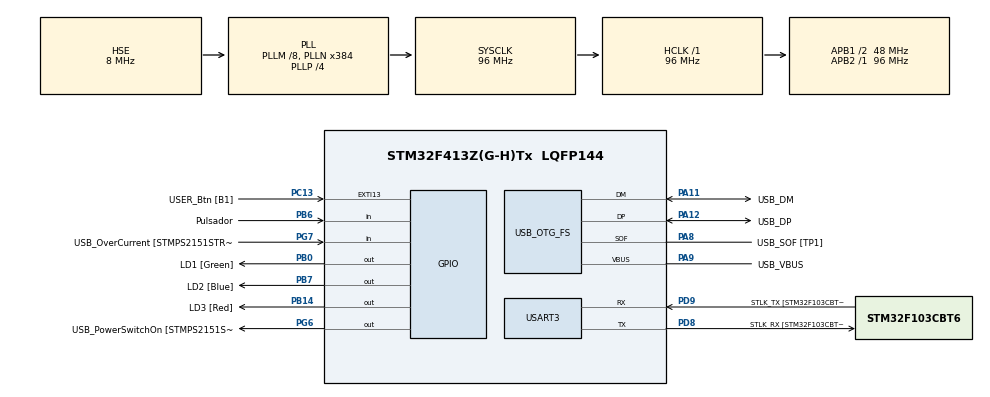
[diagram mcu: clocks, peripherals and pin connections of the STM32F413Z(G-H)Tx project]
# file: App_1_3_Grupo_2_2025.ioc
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Mcu.Family=STM32F4
Mcu.Name=STM32F413Z(G-H)Tx
Mcu.Package=LQFP144
NVIC.PriorityGroup=NVIC_PRIORITYGROUP_4
PA10.GPIO_Label=USB_ID
PA10.Signal=USB_OTG_FS_ID
PA11.GPIO_Label=USB_DM
PA11.Mode=Device_Only
PA11.Signal=USB_OTG_FS_DM
PA12.GPIO_Label=USB_DP
PA12.Mode=Device_Only
PA12.Signal=USB_OTG_FS_DP
PA13.GPIO_Label=TMS
PA13.Mode=Serial_Wire
PA13.Signal=SYS_JTMS-SWDIO
PA14.GPIO_Label=TCK
PA14.Mode=Serial_Wire
PA14.Signal=SYS_JTCK-SWCLK
PA8.GPIO_Label=USB_SOF [TP1]
PA8.Mode=Activate_SOF_FS
PA8.Signal=USB_OTG_FS_SOF
PA9.GPIO_Label=USB_VBUS
PA9.Mode=Activate_VBUS
PA9.Signal=USB_OTG_FS_VBUS
PB0.GPIO_Label=LD1 [Green]
PB0.Signal=GPIO_Output
PB14.GPIO_Label=LD3 [Red]
PB14.Signal=GPIO_Output
PB3.GPIO_Label=SWO
PB3.Signal=SYS_JTDO-SWO
PB6.GPIO_Label=Pulsador
PB6.Signal=GPIO_Input
PB7.GPIO_Label=LD2 [Blue]
PB7.Signal=GPIO_Output
PC13.GPIO_Label=USER_Btn [B1]
PC13.Signal=GPXTI13
PC14-OSC32_IN.Mode=LSE-External-Oscillator
PC14-OSC32_IN.Signal=RCC_OSC32_IN
PC15-OSC32_OUT.Mode=LSE-External-Oscillator
PC15-OSC32_OUT.Signal=RCC_OSC32_OUT
PD8.GPIO_Label=STLK_RX [STM32F103CBT6_PA3]
PD8.Mode=Asynchronous
PD8.Signal=USART3_TX
PD9.GPIO_Label=STLK_TX [STM32F103CBT6_PA2]
PD9.Mode=Asynchronous
PD9.Signal=USART3_RX
PG6.GPIO_Label=USB_PowerSwitchOn [STMPS2151STR_EN]
PG6.Signal=GPIO_Output
PG7.GPIO_Label=USB_OverCurrent [STMPS2151STR_FAULT]
PG7.Signal=GPIO_Input
PH0\ -\ OSC_IN.GPIO_Label=MCO
PH0\ -\ OSC_IN.Mode=HSE-External-Clock-Source
PH0\ -\ OSC_IN.Signal=RCC_OSC_IN
PH1\ -\ OSC_OUT.Mode=HSE-External-Clock-Source
PH1\ -\ OSC_OUT.Signal=RCC_OSC_OUT
ProjectManager.HeapSize=0x200
ProjectManager.StackSize=0x400
ProjectManager.TargetToolchain=STM32CubeIDE
RCC.48MHZClocksFreq_Value=24000000
RCC.AHBFreq_Value=96000000
RCC.APB1CLKDivider=RCC_HCLK_DIV2
RCC.APB1Freq_Value=48000000
RCC.APB1TimFreq_Value=96000000
RCC.APB2Freq_Value=96000000
RCC.APB2TimFreq_Value=96000000
RCC.CortexFreq_Value=96000000
RCC.HCLKFreq_Value=96000000
RCC.HSE_VALUE=8000000
RCC.HSI_VALUE=16000000
RCC.PLLM=8
RCC.PLLMUL=RCC_PLL_MUL9
RCC.PLLN=384
RCC.PLLP=RCC_PLLP_DIV4
RCC.PLLQ=8
RCC.PRESCALERUSB=RCC_USBCLKSOURCE_PLL_DIV1_5
RCC.SYSCLKFreq_VALUE=96000000
RCC.SYSCLKSource=RCC_SYSCLKSOURCE_PLLCLK
RCC.SYSCLKSourceVirtual=RCC_SYSCLKSOURCE_PLLCLK
RCC.USBFreq_Value=48000000
RCC.VCOOutputFreq_Value=384000000
USART3.VirtualMode=VM_ASYNC
USB_OTG_FS.VirtualMode=Device_Only
board=NUCLEO-F413ZH

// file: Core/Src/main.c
/* USER CODE BEGIN Header */
/**
  ******************************************************************************
  * @file           : main.c
  * @brief          : Main program body
  ******************************************************************************
  * @attention
  *
  * Copyright (c) 2025 STMicroelectronics.
  * All rights reserved.
  *
  * This software is licensed under terms that can be found in the LICENSE file
  * in the root directory of this software component.
  * If no LICENSE file comes with this software, it is provided AS-IS.
  *
  ******************************************************************************
  */
/* USER CODE END Header */
#include "main.h"

/* USER CODE BEGIN Includes */
uint8_t secuencia = 1;
/* USER CODE END Includes */

UART_HandleTypeDef huart3;

PCD_HandleTypeDef hpcd_USB_OTG_FS;

void SystemClock_Config(void);
static void MX_GPIO_Init(void);
static void MX_USART3_UART_Init(void);
static void MX_USB_OTG_FS_PCD_Init(void);

int main(void)
{

  /* MCU Configuration--------------------------------------------------------*/

  /* Reset of all peripherals, Initializes the Flash interface and the Systick. */
  HAL_Init();

  /* Configure the system clock */
  SystemClock_Config();

  /* Initialize all configured peripherals */
  MX_GPIO_Init();
  MX_USART3_UART_Init();
  MX_USB_OTG_FS_PCD_Init();

  /* Infinite loop */
  while (1)
  {

    /* USER CODE BEGIN 3 */

	  switch(secuencia){
	 	  	       case 1:HAL_GPIO_TogglePin(GPIOB, LD1_Pin|LD2_Pin|LD3_Pin);
	 	  	              HAL_Delay(150);
	 	  	              break;
	 	  	       case 2:HAL_GPIO_TogglePin(GPIOB, LD1_Pin|LD2_Pin|LD3_Pin);
	 	  	              HAL_Delay(300);
	 	  	              break;
	 	  	       case 3:HAL_GPIO_WritePin(GPIOB, LD1_Pin|LD2_Pin|LD3_Pin , GPIO_PIN_RESET);
	 	  	              HAL_Delay(50);
	 	  	    	      HAL_GPIO_WritePin(GPIOB, LD1_Pin, GPIO_PIN_SET);
	 	  	              HAL_Delay(100);
	 	  	              HAL_GPIO_WritePin(GPIOB, LD2_Pin,GPIO_PIN_SET);
	 	  	              HAL_Delay(300);
	 	  	              HAL_GPIO_WritePin(GPIOB, LD3_Pin, GPIO_PIN_SET);
	 	  	              HAL_Delay(600);
	 	  	              break;
	 	  	       case 4:HAL_GPIO_WritePin(GPIOB, LD1_Pin|LD3_Pin , GPIO_PIN_RESET);
	 					  HAL_Delay(150);
	 					  HAL_GPIO_TogglePin(GPIOB, LD1_Pin| LD3_Pin);
	 				   	  HAL_GPIO_TogglePin(GPIOB, LD2_Pin);
	 					  HAL_Delay(150);
	 	  	              break;
	                }

	 	  	if(HAL_GPIO_ReadPin(GPIOB, Pulsador_Pin) == GPIO_PIN_SET){

	 	  		  		  secuencia = secuencia  + 1;
	 	  		  		  HAL_Delay(200); //Eliminamos el rebote del pulsador
	 	  		  		  if(secuencia==5){
	 	  		  			  secuencia = 1; // reinicio la secuencia a 1
	 	  		  			  HAL_GPIO_WritePin(GPIOB, LD1_Pin|LD2_Pin|LD3_Pin , GPIO_PIN_RESET); // Inicializamos los pines en O
	 	  		  		  }
	 	  		  }

  }
  /* USER CODE END 3 */
}

void SystemClock_Config(void)
{
  RCC_OscInitTypeDef RCC_OscInitStruct = {0};
  RCC_ClkInitTypeDef RCC_ClkInitStruct = {0};

  /** Configure the main internal regulator output voltage
  */
  __HAL_RCC_PWR_CLK_ENABLE();
  __HAL_PWR_VOLTAGESCALING_CONFIG(PWR_REGULATOR_VOLTAGE_SCALE1);

  /** Initializes the RCC Oscillators according to the specified parameters
  * in the RCC_OscInitTypeDef structure.
  */
  RCC_OscInitStruct.OscillatorType = RCC_OSCILLATORTYPE_HSE;
  RCC_OscInitStruct.HSEState = RCC_HSE_BYPASS;
  RCC_OscInitStruct.PLL.PLLState = RCC_PLL_ON;
  RCC_OscInitStruct.PLL.PLLSource = RCC_PLLSOURCE_HSE;
  RCC_OscInitStruct.PLL.PLLM = 8;
  RCC_OscInitStruct.PLL.PLLN = 384;
  RCC_OscInitStruct.PLL.PLLP = RCC_PLLP_DIV4;
  RCC_OscInitStruct.PLL.PLLQ = 8;
  RCC_OscInitStruct.PLL.PLLR = 2;
  if (HAL_RCC_OscConfig(&RCC_OscInitStruct) != HAL_OK)
  {
    Error_Handler();
  }

  /** Initializes the CPU, AHB and APB buses clocks
  */
  RCC_ClkInitStruct.ClockType = RCC_CLOCKTYPE_HCLK|RCC_CLOCKTYPE_SYSCLK
                              |RCC_CLOCKTYPE_PCLK1|RCC_CLOCKTYPE_PCLK2;
  RCC_ClkInitStruct.SYSCLKSource = RCC_SYSCLKSOURCE_PLLCLK;
  RCC_ClkInitStruct.AHBCLKDivider = RCC_SYSCLK_DIV1;
  RCC_ClkInitStruct.APB1CLKDivider = RCC_HCLK_DIV2;
  RCC_ClkInitStruct.APB2CLKDivider = RCC_HCLK_DIV1;

  if (HAL_RCC_ClockConfig(&RCC_ClkInitStruct, FLASH_LATENCY_3) != HAL_OK)
  {
    Error_Handler();
  }
}

static void MX_USART3_UART_Init(void)
{

  huart3.Instance = USART3;
  huart3.Init.BaudRate = 115200;
  huart3.Init.WordLength = UART_WORDLENGTH_8B;
  huart3.Init.StopBits = UART_STOPBITS_1;
  huart3.Init.Parity = UART_PARITY_NONE;
  huart3.Init.Mode = UART_MODE_TX_RX;
  huart3.Init.HwFlowCtl = UART_HWCONTROL_NONE;
  huart3.Init.OverSampling = UART_OVERSAMPLING_16;
  if (HAL_UART_Init(&huart3) != HAL_OK)
  {
    Error_Handler();
  }

}

static void MX_USB_OTG_FS_PCD_Init(void)
{

  hpcd_USB_OTG_FS.Instance = USB_OTG_FS;
  hpcd_USB_OTG_FS.Init.dev_endpoints = 6;
  hpcd_USB_OTG_FS.Init.speed = PCD_SPEED_FULL;
  hpcd_USB_OTG_FS.Init.dma_enable = DISABLE;
  hpcd_USB_OTG_FS.Init.phy_itface = PCD_PHY_EMBEDDED;
  hpcd_USB_OTG_FS.Init.Sof_enable = ENABLE;
  hpcd_USB_OTG_FS.Init.low_power_enable = DISABLE;
  hpcd_USB_OTG_FS.Init.lpm_enable = DISABLE;
  hpcd_USB_OTG_FS.Init.battery_charging_enable = ENABLE;
  hpcd_USB_OTG_FS.Init.vbus_sensing_enable = ENABLE;
  hpcd_USB_OTG_FS.Init.use_dedicated_ep1 = DISABLE;
  if (HAL_PCD_Init(&hpcd_USB_OTG_FS) != HAL_OK)
  {
    Error_Handler();
  }

}

static void MX_GPIO_Init(void)
{
  GPIO_InitTypeDef GPIO_InitStruct = {0};

  /* GPIO Ports Clock Enable */
  __HAL_RCC_GPIOC_CLK_ENABLE();
  __HAL_RCC_GPIOH_CLK_ENABLE();
  __HAL_RCC_GPIOB_CLK_ENABLE();
  __HAL_RCC_GPIOD_CLK_ENABLE();
  __HAL_RCC_GPIOG_CLK_ENABLE();
  __HAL_RCC_GPIOA_CLK_ENABLE();

  /*Configure GPIO pin Output Level */
  HAL_GPIO_WritePin(GPIOB, LD1_Pin|LD3_Pin|LD2_Pin, GPIO_PIN_RESET);

  /*Configure GPIO pin Output Level */
  HAL_GPIO_WritePin(USB_PowerSwitchOn_GPIO_Port, USB_PowerSwitchOn_Pin, GPIO_PIN_RESET);

  /*Configure GPIO pin : USER_Btn_Pin */
  GPIO_InitStruct.Pin = USER_Btn_Pin;
  GPIO_InitStruct.Mode = GPIO_MODE_IT_RISING;
  GPIO_InitStruct.Pull = GPIO_NOPULL;
  HAL_GPIO_Init(USER_Btn_GPIO_Port, &GPIO_InitStruct);

  /*Configure GPIO pins : LD1_Pin LD3_Pin LD2_Pin */
  GPIO_InitStruct.Pin = LD1_Pin|LD3_Pin|LD2_Pin;
  GPIO_InitStruct.Mode = GPIO_MODE_OUTPUT_PP;
  GPIO_InitStruct.Pull = GPIO_NOPULL;
  GPIO_InitStruct.Speed = GPIO_SPEED_FREQ_LOW;
  HAL_GPIO_Init(GPIOB, &GPIO_InitStruct);

  /*Configure GPIO pin : USB_PowerSwitchOn_Pin */
  GPIO_InitStruct.Pin = USB_PowerSwitchOn_Pin;
  GPIO_InitStruct.Mode = GPIO_MODE_OUTPUT_PP;
  GPIO_InitStruct.Pull = GPIO_NOPULL;
  GPIO_InitStruct.Speed = GPIO_SPEED_FREQ_LOW;
  HAL_GPIO_Init(USB_PowerSwitchOn_GPIO_Port, &GPIO_InitStruct);

  /*Configure GPIO pin : USB_OverCurrent_Pin */
  GPIO_InitStruct.Pin = USB_OverCurrent_Pin;
  GPIO_InitStruct.Mode = GPIO_MODE_INPUT;
  GPIO_InitStruct.Pull = GPIO_NOPULL;
  HAL_GPIO_Init(USB_OverCurrent_GPIO_Port, &GPIO_InitStruct);

  /*Configure GPIO pin : Pulsador_Pin */
  GPIO_InitStruct.Pin = Pulsador_Pin;
  GPIO_InitStruct.Mode = GPIO_MODE_INPUT;
  GPIO_InitStruct.Pull = GPIO_NOPULL;
  HAL_GPIO_Init(Pulsador_GPIO_Port, &GPIO_InitStruct);

}

void Error_Handler(void)
{
  __disable_irq();
  while (1)
  {
  }
}
